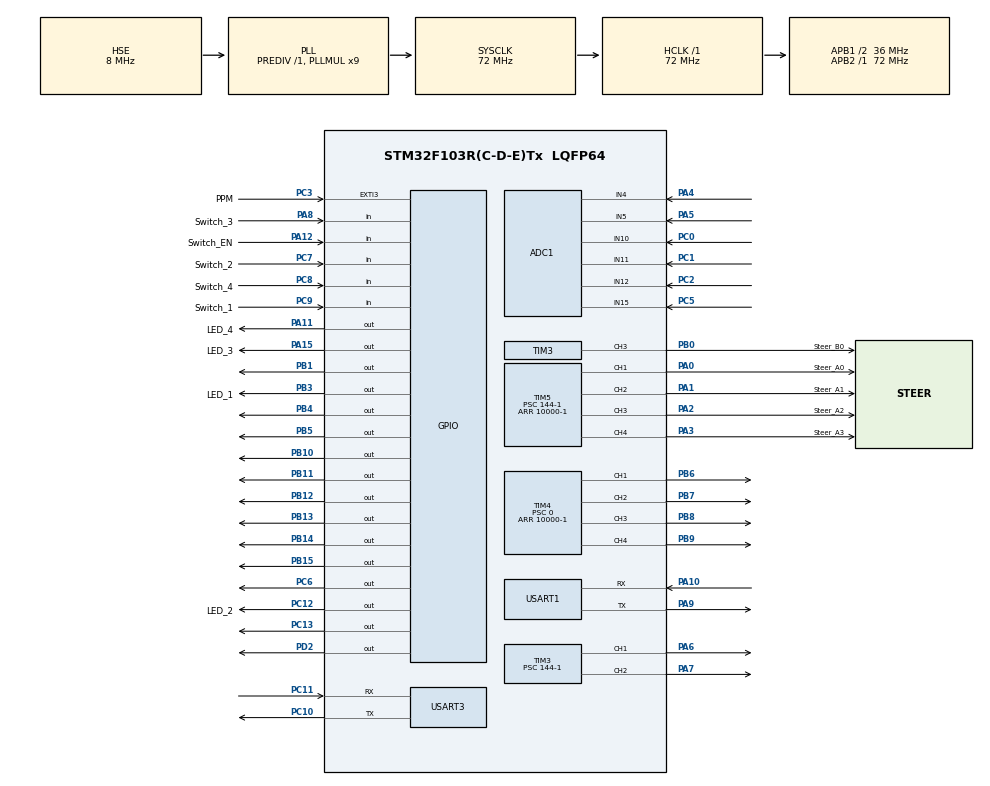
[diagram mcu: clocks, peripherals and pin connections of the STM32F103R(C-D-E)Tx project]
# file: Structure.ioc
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ADC1.Channel-0\#ChannelRegularConversion=ADC_CHANNEL_10
ADC1.NbrOfConversionFlag=1
ADC1.Rank-0\#ChannelRegularConversion=1
ADC1.SamplingTime-0\#ChannelRegularConversion=ADC_SAMPLETIME_1CYCLE_5
ADC1.master=1
Dma.ADC1.0.Direction=DMA_PERIPH_TO_MEMORY
Dma.ADC1.0.Instance=DMA1_Channel1
Dma.ADC1.0.MemDataAlignment=DMA_MDATAALIGN_HALFWORD
Dma.ADC1.0.MemInc=DMA_MINC_ENABLE
Dma.ADC1.0.Mode=DMA_CIRCULAR
Dma.ADC1.0.PeriphDataAlignment=DMA_PDATAALIGN_HALFWORD
Dma.ADC1.0.PeriphInc=DMA_PINC_DISABLE
Dma.ADC1.0.Priority=DMA_PRIORITY_LOW
Dma.Request0=ADC1
Dma.Request1=USART1_RX
Dma.USART1_RX.1.Direction=DMA_PERIPH_TO_MEMORY
Dma.USART1_RX.1.Instance=DMA1_Channel5
Dma.USART1_RX.1.MemDataAlignment=DMA_MDATAALIGN_BYTE
Dma.USART1_RX.1.MemInc=DMA_MINC_ENABLE
Dma.USART1_RX.1.Mode=DMA_NORMAL
Dma.USART1_RX.1.PeriphDataAlignment=DMA_PDATAALIGN_BYTE
Dma.USART1_RX.1.PeriphInc=DMA_PINC_DISABLE
Dma.USART1_RX.1.Priority=DMA_PRIORITY_LOW
Mcu.Family=STM32F1
Mcu.Name=STM32F103R(C-D-E)Tx
Mcu.Package=LQFP64
Mcu.UserConstants=huart_DBG,$$_USART1_IP_HANDLE_$$;huart_USER,$$_USART3_IP_HANDLE_$$;htim_RC,$$_TIM6_IP_HANDLE_$$
NVIC.DMA1_Channel1_IRQn=true\:0\:0\:false\:false\:true\:false\:true\:true
NVIC.DMA1_Channel5_IRQn=true\:0\:0\:false\:false\:true\:false\:true\:true
NVIC.EXTI3_IRQn=true\:0\:0\:false\:false\:true\:true\:true\:true
NVIC.PriorityGroup=NVIC_PRIORITYGROUP_4
NVIC.TIM6_IRQn=true\:0\:0\:false\:false\:true\:true\:true\:true
NVIC.TIM7_IRQn=true\:15\:0\:false\:false\:true\:false\:true\:true
NVIC.TimeBase=TIM7_IRQn
NVIC.TimeBaseIP=TIM7
PA0-WKUP.GPIO_Label=Steer_A0
PA0-WKUP.Signal=S_TIM5_CH1
PA1.GPIO_Label=Steer_A1
PA1.Signal=S_TIM5_CH2
PA10.Mode=Asynchronous
PA10.Signal=USART1_RX
PA11.GPIO_Label=LED_4
PA11.Signal=GPIO_Output
PA12.GPIO_Label=Switch_EN
PA12.Signal=GPIO_Input
PA13.Mode=Serial_Wire
PA13.Signal=SYS_JTMS-SWDIO
PA14.Mode=Serial_Wire
PA14.Signal=SYS_JTCK-SWCLK
PA15.GPIO_Label=LED_3
PA15.GPIO_Speed=GPIO_SPEED_FREQ_HIGH
PA15.Signal=GPIO_Output
PA2.GPIO_Label=Steer_A2
PA2.GPIO_Speed=GPIO_SPEED_FREQ_HIGH
PA2.Signal=S_TIM5_CH3
PA3.GPIO_Label=Steer_A3
PA3.GPIO_Speed=GPIO_SPEED_FREQ_HIGH
PA3.Signal=S_TIM5_CH4
PA4.Signal=ADCx_IN4
PA5.Signal=ADCx_IN5
PA6.Signal=S_TIM3_CH1
PA7.Signal=S_TIM3_CH2
PA8.GPIO_Label=Switch_3
PA8.GPIO_PuPd=GPIO_PULLUP
PA8.Signal=GPIO_Input
PA9.Mode=Asynchronous
PA9.Signal=USART1_TX
PB0.GPIO_Label=Steer_B0
PB0.GPIO_Speed=GPIO_SPEED_FREQ_HIGH
PB0.Signal=S_TIM3_CH3
PB1.GPIO_Speed=GPIO_SPEED_FREQ_HIGH
PB1.Signal=GPIO_Output
PB10.Signal=GPIO_Output
PB11.Signal=GPIO_Output
PB12.Signal=GPIO_Output
PB13.Signal=GPIO_Output
PB14.Signal=GPIO_Output
PB15.Signal=GPIO_Output
PB3.GPIO_Label=LED_1
PB3.GPIO_Speed=GPIO_SPEED_FREQ_HIGH
PB3.Signal=GPIO_Output
PB4.Signal=GPIO_Output
PB5.GPIO_Speed=GPIO_SPEED_FREQ_HIGH
PB5.Signal=GPIO_Output
PB6.Signal=S_TIM4_CH1
PB7.Signal=S_TIM4_CH2
PB8.Signal=S_TIM4_CH3
PB9.Signal=S_TIM4_CH4
PC0.Signal=ADCx_IN10
PC1.Signal=ADCx_IN11
PC10.Mode=Asynchronous
PC10.Signal=USART3_TX
PC11.Mode=Asynchronous
PC11.Signal=USART3_RX
PC12.GPIO_Label=LED_2
PC12.GPIO_Speed=GPIO_SPEED_FREQ_HIGH
PC12.Signal=GPIO_Output
PC13-TAMPER-RTC.GPIO_Speed=GPIO_SPEED_FREQ_HIGH
PC13-TAMPER-RTC.Signal=GPIO_Output
PC2.Signal=ADCx_IN12
PC3.GPIO_Label=PPM
PC3.GPIO_ModeDefaultEXTI=GPIO_MODE_IT_FALLING
PC3.GPIO_PuPd=GPIO_PULLUP
PC3.Signal=GPXTI3
PC5.Signal=ADCx_IN15
PC6.GPIO_Speed=GPIO_SPEED_FREQ_HIGH
PC6.Signal=GPIO_Output
PC7.GPIO_Label=Switch_2
PC7.GPIO_PuPd=GPIO_PULLUP
PC7.Signal=GPIO_Input
PC8.GPIO_Label=Switch_4
PC8.GPIO_PuPd=GPIO_PULLUP
PC8.Signal=GPIO_Input
PC9.GPIO_Label=Switch_1
PC9.GPIO_PuPd=GPIO_PULLUP
PC9.Signal=GPIO_Input
PD0-OSC_IN.Mode=HSE-External-Oscillator
PD0-OSC_IN.Signal=RCC_OSC_IN
PD1-OSC_OUT.Mode=HSE-External-Oscillator
PD1-OSC_OUT.Signal=RCC_OSC_OUT
PD2.GPIO_Speed=GPIO_SPEED_FREQ_HIGH
PD2.Signal=GPIO_Output
ProjectManager.HeapSize=0x200
ProjectManager.StackSize=0x400
ProjectManager.TargetToolchain=CMake
RCC.ADCPresc=RCC_ADCPCLK2_DIV6
RCC.AHBFreq_Value=72000000
RCC.APB1CLKDivider=RCC_HCLK_DIV2
RCC.APB1Freq_Value=36000000
RCC.APB1TimFreq_Value=72000000
RCC.APB2Freq_Value=72000000
RCC.APB2TimFreq_Value=72000000
RCC.HCLKFreq_Value=72000000
RCC.PLLMUL=RCC_PLL_MUL9
RCC.PLLSourceVirtual=RCC_PLLSOURCE_HSE
RCC.RCC_MCOSource=RCC_MCO1SOURCE_PLLCLK
RCC.SYSCLKFreq_VALUE=72000000
RCC.SYSCLKSource=RCC_SYSCLKSOURCE_PLLCLK
RCC.USBFreq_Value=72000000
SH.ADCx_IN10.0=ADC1_IN10,IN10
SH.ADCx_IN11.0=ADC1_IN11,IN11
SH.ADCx_IN12.0=ADC1_IN12,IN12
SH.ADCx_IN15.0=ADC1_IN15,IN15
SH.ADCx_IN4.0=ADC1_IN4,IN4
SH.ADCx_IN5.0=ADC1_IN5,IN5
SH.S_TIM3_CH1.0=TIM3_CH1,PWM Generation1 CH1
SH.S_TIM3_CH2.0=TIM3_CH2,PWM Generation2 CH2
SH.S_TIM3_CH3.0=TIM3_CH3,PWM Generation3 CH3
SH.S_TIM4_CH1.0=TIM4_CH1,PWM Generation1 CH1
SH.S_TIM4_CH2.0=TIM4_CH2,PWM Generation2 CH2
SH.S_TIM4_CH3.0=TIM4_CH3,PWM Generation3 CH3
SH.S_TIM4_CH4.0=TIM4_CH4,PWM Generation4 CH4
SH.S_TIM5_CH1.0=TIM5_CH1,PWM Generation1 CH1
SH.S_TIM5_CH2.0=TIM5_CH2,PWM Generation2 CH2
SH.S_TIM5_CH3.0=TIM5_CH3,PWM Generation3 CH3
SH.S_TIM5_CH4.0=TIM5_CH4,PWM Generation4 CH4
TIM2.AutoReloadPreload=TIM_AUTORELOAD_PRELOAD_ENABLE
TIM2.Period=10000-1
TIM2.Prescaler=0
TIM3.AutoReloadPreload=TIM_AUTORELOAD_PRELOAD_ENABLE
TIM3.Channel-PWM\ Generation1\ CH1=TIM_CHANNEL_1
TIM3.Channel-PWM\ Generation2\ CH2=TIM_CHANNEL_2
TIM3.Channel-PWM\ Generation3\ CH3=TIM_CHANNEL_3
TIM3.Period=10000-1
TIM3.Prescaler=144-1
TIM4.AutoReloadPreload=TIM_AUTORELOAD_PRELOAD_ENABLE
TIM4.Channel-PWM\ Generation1\ CH1=TIM_CHANNEL_1
TIM4.Channel-PWM\ Generation2\ CH2=TIM_CHANNEL_2
TIM4.Channel-PWM\ Generation3\ CH3=TIM_CHANNEL_3
TIM4.Channel-PWM\ Generation4\ CH4=TIM_CHANNEL_4
TIM4.Period=10000-1
TIM4.Prescaler=0
TIM5.AutoReloadPreload=TIM_AUTORELOAD_PRELOAD_ENABLE
TIM5.Channel-PWM\ Generation1\ CH1=TIM_CHANNEL_1
TIM5.Channel-PWM\ Generation2\ CH2=TIM_CHANNEL_2
TIM5.Channel-PWM\ Generation3\ CH3=TIM_CHANNEL_3
TIM5.Channel-PWM\ Generation4\ CH4=TIM_CHANNEL_4
TIM5.Period=10000-1
TIM5.Prescaler=144-1
TIM5.Pulse-PWM\ Generation3\ CH3=750
TIM5.Pulse-PWM\ Generation4\ CH4=750
TIM6.AutoReloadPreload=TIM_AUTORELOAD_PRELOAD_ENABLE
TIM6.Period=0xFFFF
TIM6.Prescaler=72-1
USART1.VirtualMode=VM_ASYNC
USART3.VirtualMode=VM_ASYNC
VP_SYS_VS_tim7.Mode=TIM7
VP_TIM2_VS_ClockSourceINT.Mode=Internal
VP_TIM3_VS_ClockSourceINT.Mode=Internal
VP_TIM4_VS_ClockSourceINT.Mode=Internal
VP_TIM5_VS_ClockSourceINT.Mode=Internal
VP_TIM6_VS_ClockSourceINT.Mode=Enable_Timer
board=custom

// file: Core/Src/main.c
/* USER CODE BEGIN Header */
/**
  ******************************************************************************
  * @file           : main.c
  * @brief          : Main program body
  ******************************************************************************
  * @attention
  *
  * Copyright (c) 2023 STMicroelectronics.
  * All rights reserved.
  *
  * This software is licensed under terms that can be found in the LICENSE file
  * in the root directory of this software component.
  * If no LICENSE file comes with this software, it is provided AS-IS.
  *
  ******************************************************************************
  */
 /* * * * * * * * * * * * * * * * * * * * * * * * * * * * * * * * * * * * * * * * * * * * * * * * * * *
  *....................................................................................................*
  *....................................................................................................*
  *....................................................................................................*
  *.............................................tttttttttttttttttttttt.................................*
  *............................................ttttttttttttttttttttttt.................................*
  *............................................tttttttttttttttttttttt..................................*
  *...........................................tttttttttttttttttttttt...................................*
  *..........................................ttttttttttttttttttttttt...................................*
  *..........................................tttttttttttttttttttttt....................................*
  *..........................................ttttttttttttttttttttt.....................................*
  *....................................................................................................*
  *....................ttttttttttttt.......tttttttttttttttttttttt...tttttttttt.........................*
  *...................tttttttttttt.....ttttttttttttttttttttttttt....tttttttttt.........................*
  *...................tttttttt......tttttttttttttttttttttttttttt...tttttttttt..........................*
  *..................ttttt......ttttttttttttttttttttttttttttttt...tttttttttt...........................*
  *.................ttt......ttttttttttttttttttttttttttttttttt....tttttttttt...........................*
  *................tt....ttttttttttttttttttttttttttttttttttttt...tttttttttt............................*
  *...................ttttttttttttttttttttttttttttttttttttttt....ttttttttt.............................*
  *................................ttttttttttttttttttttttttt...........................................*
  *...............................tttttttttttttttttttttttttt...........................................*
  *..............................tttttttttttttttttttttttttt............................................*
  *..............................ttttttttttttttttttttttttt.............................................*
  *.............................tttttttttttttttttttttttttt.............................................*
  *............................ttttttttttttttttttttttttttt........ttt..................................*
  *............................ttttttttttttttttttttttttttttttttttttt...................................*
  *...........................ttttttttttttttttttttttttttttttttttttt....................................*
  *...........................tttttttttttttttttttttttttttttttttttt.....................................*
  *...........................tttttttttttttttttttttttttttttttttttt.....................................*
  *...........................ttttttttttttttttttttttttttttttttttt......................................*
  *............................ttttttttttttttttttttttttttttttttt.......................................*
  *.............................ttttttttttttttttttttttttttttttt........................................*
  *..............................tttttttttttttttttttttttttttt..........................................*
  *.................................ttttttttttttttttttttt..............................................*
  *........................................tttttt......................................................*
  *....................................................................................................*
  *....................................................................................................*
   * * * * * * * * * * * * * * * * * * * * * * * * * * * * * * * * * * * * * * * * * * * * * * * * * * *
  */

/* USER CODE END Header */
#include "main.h"
#include "adc.h"
#include "dma.h"
#include "tim.h"
#include "usart.h"
#include "gpio.h"

/* USER CODE BEGIN Includes */
#include "headfiles.h"
/* USER CODE END Includes */

/* USER CODE BEGIN PV */
uint32_t last_print_time = 0;
/* USER CODE END PV */

void SystemClock_Config(void);
/* USER CODE BEGIN PFP */
void Prevent_sensitity(void);
void Prevent_Lost(void);
void Getswitch(void);
/* USER CODE END PFP */

/* USER CODE BEGIN 0 */

#define Center_Right_UD 1475
#define Center_Right_LR 1520
#define Center_Left_UD  1500
#define Center_Left_LR  1500
#define Dead_zone 50
//Right_UD: 1934---1475---1084
//Right_LR: 1935---1520---1084

int Right_UD = 0;
int Right_LR = 0;
int Left_UD = 0;
int Left_LR = 0;

int RCSend_Lost = 0;
int vlf,vlb,vrf,vrb;//�ٶ�
int GiPwmLF,GiPwmRF,GiPwmLR,GiPwmRR;
int ADC_Test[8];
/* USER CODE END 0 */

int main(void)
{

  /* MCU Configuration--------------------------------------------------------*/

  /* Reset of all peripherals, Initializes the Flash interface and the Systick. */
  HAL_Init();

  /* Configure the system clock */
  SystemClock_Config();

  /* Initialize all configured peripherals */
  MX_GPIO_Init();
  MX_DMA_Init();
  MX_USART1_UART_Init();
  MX_USART3_UART_Init();
  MX_TIM3_Init();
  MX_TIM5_Init();
  MX_TIM4_Init();
  MX_TIM6_Init();
  MX_TIM2_Init();
  MX_ADC1_Init();
  /* USER CODE BEGIN 2 */
  PWM_Init();       // PWM初始化
  RC_Init();        // 遥控初始化
  Chassis_Init();   //底盘初始化

  ADC_Init();       // start ADC+DMA, sample 6 channels

  /* USER CODE END 2 */

  /* Infinite loop */
  while (1)
  {

    /* USER CODE BEGIN 3 */
      RCReceive_Lost_judgement();         //判断是否接收
      RCSend_Lost_judgement();            //判断是否丢失
      Prevent_Lost();                     //防止丢失遥控信号失控
      Getswitch();                        //获得拨码开关的键值
      Prevent_sensitity();                //防止过于遥控信号敏感
	  /*================================================== User Code Space ==================================================*/
	  /* use IO引脚   B1	 B10  B11  B12	B13		B14		B15		C6   eg.HAL_GPIO_ReadPin(GPIOB, GPIO_PIN_1)        读取B1引脚的电平
																											            IO(B1, GPIO_PIN_SET);                      设置B1引脚为高电平
																										             	IO(B1, GPIO_PIN_RESET);	                   设置B1引脚为低电平
		                                                              Motor_Drive(B1, SET, B10, RESET);          驱动摩擦轮电机 （这个电机不用PWM控制 只用两个IO口来控制）
		                                                                                                         这里把B1引脚设置高电平 B10设置为低电平
		                                                                                                         如果把B1引脚设置低电平 B10设置为高电平的话会反转
		   use PWM引脚 A0  A2   A3   A6   A7	B0                   eg.驱动舵机   PWM(A0, 750);                   设置该处占空比为750（范围250~1250，超出会毁坏舵机！！！）*/
//		  hCtrl.Chassis.SpeedTarget_Y = (Right_UD - Center_Right_UD) * 15;
//      hCtrl.Chassis.SpeedTarget_X = (Right_LR - Center_Right_LR) * 15;
			int Game_mode = 0;
			if(Game_mode == 1)
			{
					hCtrl.Chassis.SpeedTarget_Y = 7500;
					hCtrl.Chassis.SpeedTarget_X = 0;
			}
			else
			{
					hCtrl.Chassis.SpeedTarget_Y = 0;
					hCtrl.Chassis.SpeedTarget_X = -7500;
			}
	  /*================================================== User Code End ==================================================*/
	    // 底盘驱动
      ChassisCtrl(hCtrl.Chassis.SpeedTarget_Y, hCtrl.Chassis.SpeedTarget_X);

      // VOFA调试
      VOFA_JustFloat(&huart_DBG);
	    // 勿动！！！
      HAL_Delay(10);
  }
  /* USER CODE END 3 */
}

void SystemClock_Config(void)
{
  RCC_OscInitTypeDef RCC_OscInitStruct = {0};
  RCC_ClkInitTypeDef RCC_ClkInitStruct = {0};
  RCC_PeriphCLKInitTypeDef PeriphClkInit = {0};

  /** Initializes the RCC Oscillators according to the specified parameters
  * in the RCC_OscInitTypeDef structure.
  */
  RCC_OscInitStruct.OscillatorType = RCC_OSCILLATORTYPE_HSE;
  RCC_OscInitStruct.HSEState = RCC_HSE_ON;
  RCC_OscInitStruct.HSEPredivValue = RCC_HSE_PREDIV_DIV1;
  RCC_OscInitStruct.HSIState = RCC_HSI_ON;
  RCC_OscInitStruct.PLL.PLLState = RCC_PLL_ON;
  RCC_OscInitStruct.PLL.PLLSource = RCC_PLLSOURCE_HSE;
  RCC_OscInitStruct.PLL.PLLMUL = RCC_PLL_MUL9;
  if (HAL_RCC_OscConfig(&RCC_OscInitStruct) != HAL_OK)
  {
    Error_Handler();
  }

  /** Initializes the CPU, AHB and APB buses clocks
  */
  RCC_ClkInitStruct.ClockType = RCC_CLOCKTYPE_HCLK|RCC_CLOCKTYPE_SYSCLK
                              |RCC_CLOCKTYPE_PCLK1|RCC_CLOCKTYPE_PCLK2;
  RCC_ClkInitStruct.SYSCLKSource = RCC_SYSCLKSOURCE_PLLCLK;
  RCC_ClkInitStruct.AHBCLKDivider = RCC_SYSCLK_DIV1;
  RCC_ClkInitStruct.APB1CLKDivider = RCC_HCLK_DIV2;
  RCC_ClkInitStruct.APB2CLKDivider = RCC_HCLK_DIV1;

  if (HAL_RCC_ClockConfig(&RCC_ClkInitStruct, FLASH_LATENCY_2) != HAL_OK)
  {
    Error_Handler();
  }
  PeriphClkInit.PeriphClockSelection = RCC_PERIPHCLK_ADC;
  PeriphClkInit.AdcClockSelection = RCC_ADCPCLK2_DIV6;
  if (HAL_RCCEx_PeriphCLKConfig(&PeriphClkInit) != HAL_OK)
  {
    Error_Handler();
  }
}

/* USER CODE BEGIN 4 */

void Prevent_sensitity()
{
	if((Right_UD < Center_Right_UD + Dead_zone && Right_UD  >  Center_Right_UD - Dead_zone) || Right_UD == 0)
	{
			Right_UD = Center_Right_UD;
	}

	if((Right_LR < Center_Right_LR + Dead_zone && Right_LR  >  Center_Right_LR - Dead_zone) || Right_LR == 0)
	{
			Right_LR = Center_Right_LR;
	}

	if((Left_UD < Center_Left_UD + Dead_zone && Left_UD > Center_Left_UD - Dead_zone) || Left_UD == 0)
	{
			Left_UD = Center_Left_UD;
	}

	if((Left_LR < Center_Left_LR + Dead_zone && Left_LR > Center_Left_LR - Dead_zone) || Left_LR == 0)
	{
			Left_LR = Center_Left_LR;
	}
}
void Prevent_Lost()
{
	if( hRC.State == RC_state_Receive_Lost || RCSend_Lost)     //����
	{
			Right_UD = Center_Right_UD;
			Right_LR = Center_Right_LR;
			Left_UD  = Center_Left_UD;
			Left_LR  = Center_Left_LR;
	}
 else
 {
	Right_UD = hRC.ChannelData_Raw[0];
	Right_LR = hRC.ChannelData_Raw[1];
	Left_UD  = hRC.ChannelData_Raw[2];
	Left_LR  = hRC.ChannelData_Raw[3];
 }
}

void Getswitch()
{
	Switch_GetCode();//获取拨码开关的键值
	HAL_GPIO_WritePin(LED_1_GPIO_Port, LED_1_Pin, Switch_GetState_Index(Switch_Index_1));
	HAL_GPIO_WritePin(LED_2_GPIO_Port, LED_2_Pin, Switch_GetState_Index(Switch_Index_2));
	HAL_GPIO_WritePin(LED_3_GPIO_Port, LED_3_Pin, Switch_GetState_Index(Switch_Index_3));
	HAL_GPIO_WritePin(LED_4_GPIO_Port, LED_4_Pin, Switch_GetState_Index(Switch_Index_4));
}

/* USER CODE END 4 */

void HAL_TIM_PeriodElapsedCallback(TIM_HandleTypeDef *htim)
{
  if (htim->Instance == TIM7)
  {
    HAL_IncTick();
  }
}

void Error_Handler(void)
{
  __disable_irq();
  while (1)
  {
  }
}
